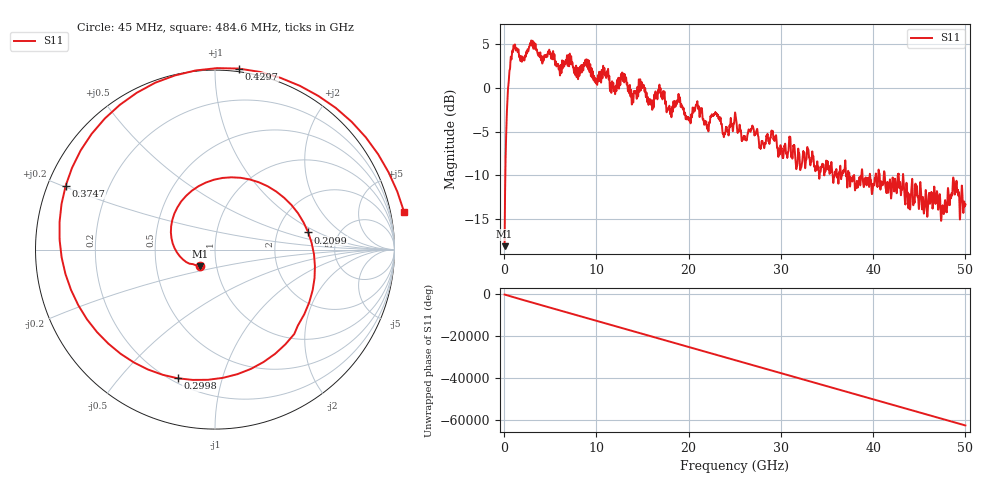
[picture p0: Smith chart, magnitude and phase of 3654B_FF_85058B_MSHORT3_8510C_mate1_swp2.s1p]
!Created with skrf (http://scikit-rf.org).
# Hz S RI R 50.0
!freq ReS11 ImS11
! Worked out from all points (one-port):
!   10001 points, 45 MHz to 50 GHz, reference 50 ohm
!   lowest |S11| = -18.1 dB at 45 MHz (marker M1), VSWR 1.28, Z = 41.8 - j7.92 ohm
!   |S11| at or under -10 dB: 38.84 GHz to 39.63 GHz (784.2 MHz wide, 2 % of centre); 41.26 GHz to 42.67 GHz (1.405 GHz wide, 3.35 % of centre); 43.26 GHz to end of sweep (the widest 3 of 21)
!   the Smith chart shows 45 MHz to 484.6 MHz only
!   S11 on the Smith chart (normalised r, x): 45 MHz: 0.84, -0.16; 209.9 MHz: 3.00, +0.80; 299.8 MHz: 0.22, -0.73; 374.7 MHz: 0.05, +0.20; 429.7 MHz: -0.02, +1.14; 484.6 MHz: -3.24, +8.91
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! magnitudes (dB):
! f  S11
! 45 MHz  -18.1
! 209.9 MHz  -5.5
! 299.8 MHz  -2.5
! 374.7 MHz  -0.9
! 429.7 MHz  0.1
! 484.6 MHz  0.6
! 1.174 GHz  5.0
! 6.289 GHz  3.1
! 12.53 GHz  1.1
! 15.98 GHz  -1.5
! 16.89 GHz  -0.2
! 17.93 GHz  -2.2
! 18.78 GHz  -1.4
! 20 GHz  -3.4
! 20.91 GHz  -1.6
! 21.94 GHz  -4.0
! 22.97 GHz  -3.0
! 23.86 GHz  -5.3
! 25.02 GHz  -2.8
! 25.97 GHz  -5.5
! 26.82 GHz  -4.7
! 31.27 GHz  -8.0
! 37.51 GHz  -11.2
! 43.76 GHz  -12.3
! 46.76 GHz  -13.3
! 47.53 GHz  -13.5
! 48.85 GHz  -12.2
! 50 GHz  -13.4
